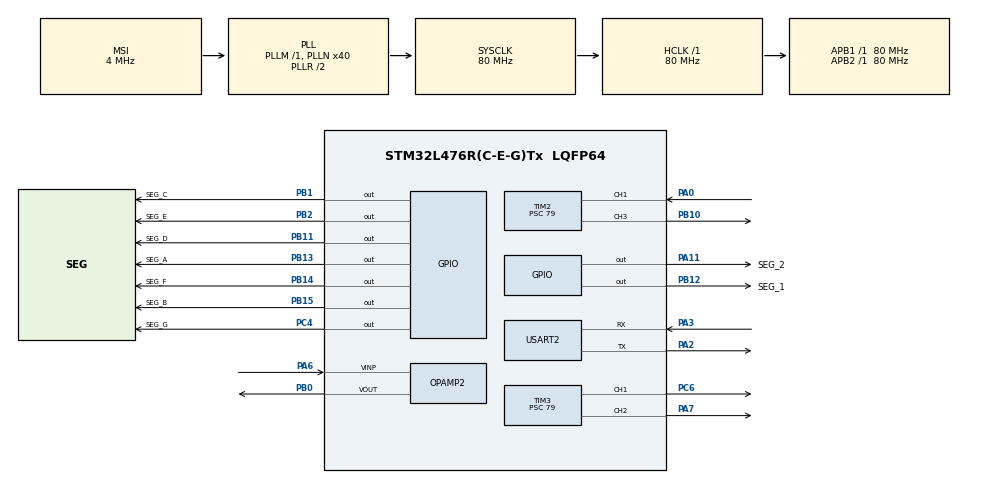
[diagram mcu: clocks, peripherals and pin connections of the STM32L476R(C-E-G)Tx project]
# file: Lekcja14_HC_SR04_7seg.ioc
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ADC1.Channel-1\#ChannelRegularConversion=ADC_CHANNEL_15
ADC1.ContinuousConvMode=ENABLE
ADC1.NbrOfConversionFlag=1
ADC1.OffsetNumber-1\#ChannelRegularConversion=ADC_OFFSET_NONE
ADC1.Overrun=ADC_OVR_DATA_OVERWRITTEN
ADC1.Rank-1\#ChannelRegularConversion=1
ADC1.SamplingTime-1\#ChannelRegularConversion=ADC_SAMPLETIME_640CYCLES_5
ADC1.master=1
Mcu.Family=STM32L4
Mcu.Name=STM32L476R(C-E-G)Tx
Mcu.Package=LQFP64
NVIC.PriorityGroup=NVIC_PRIORITYGROUP_4
NVIC.TIM2_IRQn=true\:11\:0\:true\:false\:true\:true\:true\:true
NVIC.TIM6_DAC_IRQn=true\:10\:0\:true\:false\:true\:true\:true\:true
OPAMP2.PgaGain=OPAMP_PGA_GAIN_4
OPAMP2.PowerSupplyRange=OPAMP_POWERSUPPLY_HIGH
PA0.Signal=S_TIM2_CH1
PA11.GPIO_Label=SEG_2
PA11.GPIO_ModeDefaultOutputPP=GPIO_MODE_OUTPUT_OD
PA11.GPIO_PuPd=GPIO_NOPULL
PA11.PinState=GPIO_PIN_SET
PA11.Signal=GPIO_Output
PA13\ (JTMS-SWDIO).Mode=Serial_Wire
PA13\ (JTMS-SWDIO).Signal=SYS_JTMS-SWDIO
PA14\ (JTCK-SWCLK).Mode=Serial_Wire
PA14\ (JTCK-SWCLK).Signal=SYS_JTCK-SWCLK
PA2.Mode=Asynchronous
PA2.Signal=USART2_TX
PA3.Mode=Asynchronous
PA3.Signal=USART2_RX
PA6.Mode=PGA Not Connected
PA6.Signal=OPAMP2_VINP
PA7.Signal=S_TIM3_CH2
PB0.Signal=SharedAnalog_PB0
PB1.GPIO_Label=SEG_C
PB1.Signal=GPIO_Output
PB10.Signal=S_TIM2_CH3
PB11.GPIO_Label=SEG_D
PB11.Signal=GPIO_Output
PB12.GPIO_Label=SEG_1
PB12.GPIO_ModeDefaultOutputPP=GPIO_MODE_OUTPUT_OD
PB12.GPIO_PuPd=GPIO_NOPULL
PB12.PinState=GPIO_PIN_SET
PB12.Signal=GPIO_Output
PB13.GPIO_Label=SEG_A
PB13.Signal=GPIO_Output
PB14.GPIO_Label=SEG_F
PB14.Signal=GPIO_Output
PB15.GPIO_Label=SEG_B
PB15.Signal=GPIO_Output
PB2.GPIO_Label=SEG_E
PB2.Signal=GPIO_Output
PC4.GPIO_Label=SEG_G
PC4.Signal=GPIO_Output
PC6.Signal=S_TIM3_CH1
ProjectManager.HeapSize=0x200
ProjectManager.StackSize=0x400
ProjectManager.TargetToolchain=STM32CubeIDE
RCC.ADCFreq_Value=32000000
RCC.AHBFreq_Value=80000000
RCC.APB1Freq_Value=80000000
RCC.APB1TimFreq_Value=80000000
RCC.APB2Freq_Value=80000000
RCC.APB2TimFreq_Value=80000000
RCC.CortexFreq_Value=80000000
RCC.HCLKFreq_Value=80000000
RCC.HSE_VALUE=8000000
RCC.HSI_VALUE=16000000
RCC.LSE_VALUE=32768
RCC.MSI_VALUE=4000000
RCC.PLLN=40
RCC.PLLSAI1N=16
RCC.SYSCLKFreq_VALUE=80000000
RCC.SYSCLKSource=RCC_SYSCLKSOURCE_PLLCLK
RCC.USBFreq_Value=32000000
RCC.VCOOutputFreq_Value=160000000
SH.S_TIM2_CH1.0=TIM2_CH1,Input_Capture1_from_TI1
SH.S_TIM2_CH3.0=TIM2_CH3,PWM Generation3 CH3
SH.S_TIM3_CH1.0=TIM3_CH1,PWM Generation1 CH1
SH.S_TIM3_CH2.0=TIM3_CH2,PWM Generation2 CH2
SH.SharedAnalog_PB0.0=ADC1_IN15
SH.SharedAnalog_PB0.1=OPAMP2_VOUT,PGA Not Connected
TIM2.Channel-Input_Capture1_from_TI1=TIM_CHANNEL_1
TIM2.Channel-Input_Capture2_from_TI1_63=TIM_CHANNEL_2
TIM2.Channel-PWM\ Generation3\ CH3=TIM_CHANNEL_3
TIM2.ICPolarity_CH1=TIM_INPUTCHANNELPOLARITY_RISING
TIM2.ICPolarity_CH2=TIM_INPUTCHANNELPOLARITY_FALLING
TIM2.Period=99999
TIM2.Prescaler=79
TIM2.Pulse-PWM\ Generation3\ CH3=10
TIM3.Channel-PWM\ Generation1\ CH1=TIM_CHANNEL_1
TIM3.Channel-PWM\ Generation2\ CH2=TIM_CHANNEL_2
TIM3.OCPolarity_1=TIM_OCPOLARITY_LOW
TIM3.OCPolarity_2=TIM_OCPOLARITY_LOW
TIM3.Period=4999
TIM3.Prescaler=79
TIM6.Period=99
TIM6.Prescaler=7999
USART2.VirtualMode-Asynchronous=VM_ASYNC
VP_ADC1_OPAMP2_OUT.Mode=IN15-OPAMP2-Single-Ended
VP_TIM2_VS_ClockSourceINT.Mode=Internal
VP_TIM2_VS_indirect_ch1.Mode=Input_Capture2_from_TI1_63
VP_TIM3_VS_ClockSourceINT.Mode=Internal
VP_TIM6_VS_ClockSourceINT.Mode=Enable_Timer
board=custom

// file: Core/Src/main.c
/* USER CODE BEGIN Header */
/**
  ******************************************************************************
  * @file           : main.c
  * @brief          : Main program body
  ******************************************************************************
  * @attention
  *
  * Copyright (c) 2023 STMicroelectronics.
  * All rights reserved.
  *
  * This software is licensed under terms that can be found in the LICENSE file
  * in the root directory of this software component.
  * If no LICENSE file comes with this software, it is provided AS-IS.
  *
  ******************************************************************************
  */
/* USER CODE END Header */
#include "main.h"
#include "adc.h"
#include "opamp.h"
#include "tim.h"
#include "usart.h"
#include "gpio.h"

/* USER CODE BEGIN Includes */
#include <stdio.h>
#include "seg7.h"
/* USER CODE END Includes */

void SystemClock_Config(void);

/* USER CODE BEGIN 0 */
int __io_putchar(int ch)
{
	if (ch == '\n')
		__io_putchar('\r');
	HAL_UART_Transmit(&huart2, (uint8_t*)&ch, 1, HAL_MAX_DELAY);

	return 1;
}

static float calc_sound_speed(void)
{
	uint32_t adc_value = HAL_ADC_GetValue(&hadc1);
	float temp = adc_value * 330.0 / 4096.0 / 4.0;	//dzielenie przez 4 bo takie wzmocnienie ma ustawiony OPAMP
	return 331.8 + 0.6 * temp;
}

#define TIM3_PWM_PERIOD 5000
void update_rgb(uint32_t distance)
{
	uint32_t distance_limited;
	if (distance >  30) distance_limited = 30;
	else distance_limited = distance;

	uint32_t duty_red = (30 - distance_limited)/30.0 * TIM3_PWM_PERIOD;
	uint32_t duty_green = distance_limited/30.0 * TIM3_PWM_PERIOD;

	__HAL_TIM_SET_COMPARE(&htim3, TIM_CHANNEL_1, duty_red);
	__HAL_TIM_SET_COMPARE(&htim3, TIM_CHANNEL_2, duty_green);
}

void HAL_TIM_PeriodElapsedCallback(TIM_HandleTypeDef *htim)
{
	if (htim == &htim2)
	{
		uint32_t start = HAL_TIM_ReadCapturedValue(&htim2, TIM_CHANNEL_1);
		uint32_t stop = HAL_TIM_ReadCapturedValue(&htim2, TIM_CHANNEL_2);
		uint32_t distance = (stop-start) * calc_sound_speed() / 20000.0;
		update_rgb(distance);
		seg7_show(distance);
	}
	else if (htim == &htim6)
	{
		seg7_update();
	}
}
/* USER CODE END 0 */

int main(void)
{

  /* MCU Configuration--------------------------------------------------------*/

  /* Reset of all peripherals, Initializes the Flash interface and the Systick. */
  HAL_Init();

  /* Configure the system clock */
  SystemClock_Config();

  /* Initialize all configured peripherals */
  MX_GPIO_Init();
  MX_USART2_UART_Init();
  MX_TIM2_Init();
  MX_TIM6_Init();
  MX_ADC1_Init();
  MX_OPAMP2_Init();
  MX_TIM3_Init();

  /* Infinite loop */
  /* USER CODE BEGIN WHILE */
  // inicjalizacja pracy kanalow TIM2 (1,2 - pomiar czasu, 3 - generator PWM
  // o wypelnieniu 10us
  // pomiar czasu jest skomplikowany, bo kanaly mierza czas od rozpoczecia zbocza PWM na kanale 3
  // do zbocza rosnacego/opadajacego sygnalu na kanale 1, czyli mierzymy czas od rozpoczecia wzbudzenia
  // pomiaru do rozpoczecia/zakonczenia odpowiedzi czujnika
  // inicjalizujemy takze generowanie przerwan przez TIM2, w ktorych odczytywane sa
  // pomiary odleglosci i wysylane na wyswietlacz 7seg.
  HAL_TIM_Base_Start_IT(&htim2);
  HAL_TIM_IC_Start(&htim2, TIM_CHANNEL_1);
  HAL_TIM_IC_Start(&htim2, TIM_CHANNEL_2);
  HAL_TIM_PWM_Start(&htim2, TIM_CHANNEL_3);
  // inicjalizacja timera TIM6 ktory bedzie generowal przerwanie, w ktorym
  // wyswietlacz 7seg. bedzie multipleksowany
  HAL_TIM_Base_Start_IT(&htim6);
  // inicjalizacjia odczytu ADC temperatury z analogowego czujnika
  // inicjalizacja wzmacniacza operacyjnego 4x wzmacniajacego sygnal analogowy
  // z termometru
  HAL_ADCEx_Calibration_Start(&hadc1, ADC_SINGLE_ENDED);
  HAL_ADC_Start(&hadc1);
  HAL_OPAMP_SelfCalibrate(&hopamp2);
  HAL_OPAMP_Start(&hopamp2);
  // inicjalizacja TIM3, ktory generuje PWM sterujacy dioda RGB (2 kanaly, kolory R i G, B niepodpiety)
  // aktualizacja wypelnienia poszczegolnych kolorow w przerwaniu od TIM2 czyli po odczycie nowej odleglosci
  HAL_TIM_PWM_Start(&htim3, TIM_CHANNEL_1);
  HAL_TIM_PWM_Start(&htim3, TIM_CHANNEL_2);

  while (1)
  {
    /* USER CODE END WHILE */

  }
}

void SystemClock_Config(void)
{
  RCC_OscInitTypeDef RCC_OscInitStruct = {0};
  RCC_ClkInitTypeDef RCC_ClkInitStruct = {0};

  /** Configure the main internal regulator output voltage
  */
  if (HAL_PWREx_ControlVoltageScaling(PWR_REGULATOR_VOLTAGE_SCALE1) != HAL_OK)
  {
    Error_Handler();
  }

  /** Initializes the RCC Oscillators according to the specified parameters
  * in the RCC_OscInitTypeDef structure.
  */
  RCC_OscInitStruct.OscillatorType = RCC_OSCILLATORTYPE_MSI;
  RCC_OscInitStruct.MSIState = RCC_MSI_ON;
  RCC_OscInitStruct.MSICalibrationValue = 0;
  RCC_OscInitStruct.MSIClockRange = RCC_MSIRANGE_6;
  RCC_OscInitStruct.PLL.PLLState = RCC_PLL_ON;
  RCC_OscInitStruct.PLL.PLLSource = RCC_PLLSOURCE_MSI;
  RCC_OscInitStruct.PLL.PLLM = 1;
  RCC_OscInitStruct.PLL.PLLN = 40;
  RCC_OscInitStruct.PLL.PLLP = RCC_PLLP_DIV7;
  RCC_OscInitStruct.PLL.PLLQ = RCC_PLLQ_DIV2;
  RCC_OscInitStruct.PLL.PLLR = RCC_PLLR_DIV2;
  if (HAL_RCC_OscConfig(&RCC_OscInitStruct) != HAL_OK)
  {
    Error_Handler();
  }

  /** Initializes the CPU, AHB and APB buses clocks
  */
  RCC_ClkInitStruct.ClockType = RCC_CLOCKTYPE_HCLK|RCC_CLOCKTYPE_SYSCLK
                              |RCC_CLOCKTYPE_PCLK1|RCC_CLOCKTYPE_PCLK2;
  RCC_ClkInitStruct.SYSCLKSource = RCC_SYSCLKSOURCE_PLLCLK;
  RCC_ClkInitStruct.AHBCLKDivider = RCC_SYSCLK_DIV1;
  RCC_ClkInitStruct.APB1CLKDivider = RCC_HCLK_DIV1;
  RCC_ClkInitStruct.APB2CLKDivider = RCC_HCLK_DIV1;

  if (HAL_RCC_ClockConfig(&RCC_ClkInitStruct, FLASH_LATENCY_4) != HAL_OK)
  {
    Error_Handler();
  }
}

void Error_Handler(void)
{
  __disable_irq();
  while (1)
  {
  }
}
